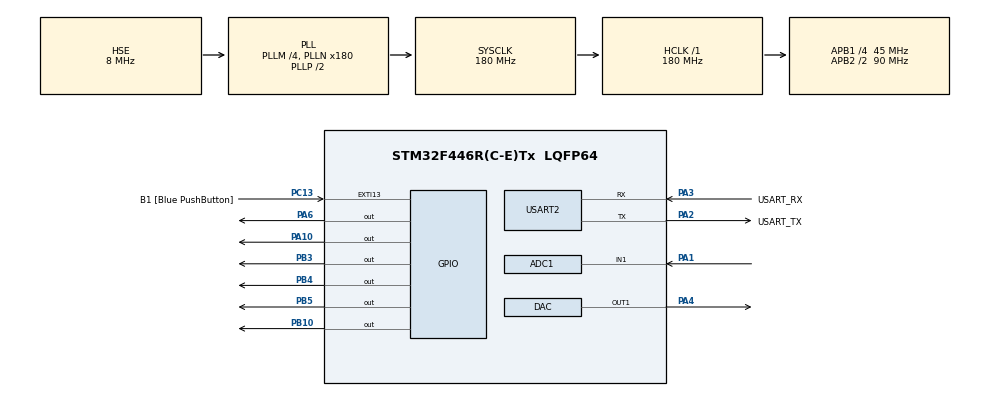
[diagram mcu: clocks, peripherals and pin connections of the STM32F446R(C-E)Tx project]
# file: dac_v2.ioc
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ADC1.Channel-4\#ChannelRegularConversion=ADC_CHANNEL_1
ADC1.ContinuousConvMode=ENABLE
ADC1.DMAContinuousRequests=ENABLE
ADC1.EOCSelection=ADC_EOC_SEQ_CONV
ADC1.ExternalTrigConv=ADC_EXTERNALTRIGCONV_T3_TRGO
ADC1.ExternalTrigConvEdge=ADC_EXTERNALTRIGCONVEDGE_RISING
ADC1.NbrOfConversionFlag=1
ADC1.Rank-4\#ChannelRegularConversion=1
ADC1.SamplingTime-4\#ChannelRegularConversion=ADC_SAMPLETIME_3CYCLES
ADC1.ScanConvMode=ENABLE
ADC1.master=1
DAC.DAC_OutputBuffer=DAC_OUTPUTBUFFER_ENABLE
DAC.DAC_Trigger=DAC_TRIGGER_T2_TRGO
Dma.ADC1.2.Direction=DMA_PERIPH_TO_MEMORY
Dma.ADC1.2.FIFOMode=DMA_FIFOMODE_DISABLE
Dma.ADC1.2.Instance=DMA2_Stream0
Dma.ADC1.2.MemDataAlignment=DMA_MDATAALIGN_WORD
Dma.ADC1.2.MemInc=DMA_MINC_ENABLE
Dma.ADC1.2.Mode=DMA_NORMAL
Dma.ADC1.2.PeriphDataAlignment=DMA_PDATAALIGN_WORD
Dma.ADC1.2.PeriphInc=DMA_PINC_DISABLE
Dma.ADC1.2.Priority=DMA_PRIORITY_LOW
Dma.DAC1.0.Direction=DMA_MEMORY_TO_PERIPH
Dma.DAC1.0.FIFOMode=DMA_FIFOMODE_DISABLE
Dma.DAC1.0.Instance=DMA1_Stream5
Dma.DAC1.0.MemDataAlignment=DMA_MDATAALIGN_WORD
Dma.DAC1.0.MemInc=DMA_MINC_ENABLE
Dma.DAC1.0.Mode=DMA_CIRCULAR
Dma.DAC1.0.PeriphDataAlignment=DMA_PDATAALIGN_WORD
Dma.DAC1.0.PeriphInc=DMA_PINC_DISABLE
Dma.DAC1.0.Priority=DMA_PRIORITY_LOW
Dma.Request0=DAC1
Dma.Request1=USART2_TX
Dma.Request2=ADC1
Dma.USART2_TX.1.Direction=DMA_MEMORY_TO_PERIPH
Dma.USART2_TX.1.FIFOMode=DMA_FIFOMODE_DISABLE
Dma.USART2_TX.1.Instance=DMA1_Stream6
Dma.USART2_TX.1.MemDataAlignment=DMA_MDATAALIGN_BYTE
Dma.USART2_TX.1.MemInc=DMA_MINC_ENABLE
Dma.USART2_TX.1.Mode=DMA_NORMAL
Dma.USART2_TX.1.PeriphDataAlignment=DMA_PDATAALIGN_BYTE
Dma.USART2_TX.1.PeriphInc=DMA_PINC_DISABLE
Dma.USART2_TX.1.Priority=DMA_PRIORITY_LOW
Mcu.Family=STM32F4
Mcu.Name=STM32F446R(C-E)Tx
Mcu.Package=LQFP64
NVIC.ADC_IRQn=true\:0\:0\:false\:false\:true\:true\:true\:true
NVIC.DMA1_Stream5_IRQn=true\:0\:0\:false\:false\:true\:false\:true\:true
NVIC.DMA1_Stream6_IRQn=true\:0\:0\:false\:false\:true\:false\:true\:true
NVIC.DMA2_Stream0_IRQn=true\:0\:0\:false\:false\:true\:false\:true\:true
NVIC.PriorityGroup=NVIC_PRIORITYGROUP_0
NVIC.TIM2_IRQn=true\:0\:0\:false\:false\:true\:true\:true\:true
NVIC.TIM3_IRQn=true\:0\:0\:false\:false\:true\:true\:true\:true
PA1.Signal=ADCx_IN1
PA10.Signal=GPIO_Output
PA13.GPIO_Label=TMS
PA13.Mode=Serial_Wire
PA13.Signal=SYS_JTMS-SWDIO
PA14.GPIO_Label=TCK
PA14.Mode=Serial_Wire
PA14.Signal=SYS_JTCK-SWCLK
PA2.GPIO_Label=USART_TX
PA2.Mode=Asynchronous
PA2.Signal=USART2_TX
PA3.GPIO_Label=USART_RX
PA3.Mode=Asynchronous
PA3.Signal=USART2_RX
PA4.Signal=COMP_DAC1_group
PA6.Signal=GPIO_Output
PB10.Signal=GPIO_Output
PB3.Signal=GPIO_Output
PB4.Signal=GPIO_Output
PB5.Signal=GPIO_Output
PC13.GPIO_Label=B1 [Blue PushButton]
PC13.GPIO_ModeDefaultEXTI=GPIO_MODE_IT_FALLING
PC13.Signal=GPXTI13
PC14-OSC32_IN.Mode=LSE-External-Oscillator
PC14-OSC32_IN.Signal=RCC_OSC32_IN
PC15-OSC32_OUT.Mode=LSE-External-Oscillator
PC15-OSC32_OUT.Signal=RCC_OSC32_OUT
PH0-OSC_IN.Mode=HSE-External-Oscillator
PH0-OSC_IN.Signal=RCC_OSC_IN
PH1-OSC_OUT.Mode=HSE-External-Oscillator
PH1-OSC_OUT.Signal=RCC_OSC_OUT
ProjectManager.HeapSize=0x200
ProjectManager.StackSize=0x400
ProjectManager.TargetToolchain=STM32CubeIDE
RCC.48MHZClocksFreq_Value=84000000
RCC.AHBFreq_Value=180000000
RCC.APB1CLKDivider=RCC_HCLK_DIV4
RCC.APB1Freq_Value=45000000
RCC.APB1TimFreq_Value=90000000
RCC.APB2CLKDivider=RCC_HCLK_DIV2
RCC.APB2Freq_Value=90000000
RCC.APB2TimFreq_Value=180000000
RCC.CortexFreq_Value=180000000
RCC.FLatency-AdvancedSettings=FLASH_LATENCY_5
RCC.HCLKFreq_Value=180000000
RCC.HSE_VALUE=8000000
RCC.HSI_VALUE=16000000
RCC.PLLM=4
RCC.PLLN=180
RCC.PLLSourceVirtual=RCC_PLLSOURCE_HSE
RCC.SYSCLKFreq_VALUE=180000000
RCC.SYSCLKSource=RCC_SYSCLKSOURCE_PLLCLK
RCC.USBFreq_Value=180000000
RCC.VCOOutputFreq_Value=360000000
SH.ADCx_IN1.0=ADC1_IN1,IN1
SH.COMP_DAC1_group.0=DAC_OUT1,DAC_OUT1
TIM2.AutoReloadPreload=TIM_AUTORELOAD_PRELOAD_ENABLE
TIM2.Period=2
TIM2.Prescaler=2
TIM2.TIM_MasterOutputTrigger=TIM_TRGO_UPDATE
TIM3.AutoReloadPreload=TIM_AUTORELOAD_PRELOAD_ENABLE
TIM3.Period=300-1
TIM3.Prescaler=0
TIM3.TIM_MasterOutputTrigger=TIM_TRGO_UPDATE
USART2.VirtualMode=VM_ASYNC
VP_TIM2_VS_ClockSourceINT.Mode=Internal
VP_TIM3_VS_ClockSourceINT.Mode=Internal
board=NUCLEO-F446RE

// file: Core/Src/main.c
/* USER CODE BEGIN Header */
/**
  ******************************************************************************
  * @file           : main.c
  * @brief          : Main program body
  ******************************************************************************
  * @attention
  *
  * Copyright (c) 2022 STMicroelectronics.
  * All rights reserved.
  *
  * This software is licensed under terms that can be found in the LICENSE file
  * in the root directory of this software component.
  * If no LICENSE file comes with this software, it is provided AS-IS.
  *
  ******************************************************************************
  */
/* USER CODE END Header */
#include "main.h"

/* USER CODE BEGIN Includes */
#include <string.h>
#include <stdio.h>
#include "arm_math.h"
#include "arm_const_structs.h"
/* USER CODE END Includes */

/* USER CODE BEGIN PD */

//#define MAX_SINE_VAL_ARR 300
#define CURRENT_SINE_ARR 			100
#define ADC_SAMPLE_SIZE 			4096
#define FFT_SAMPLE_SIZE 			2048
#define ADC_SCALING					0.0008056640508584678173065185546875
//#define PI 							3.141592

/* USER CODE END PD */

 ADC_HandleTypeDef hadc1;
DMA_HandleTypeDef hdma_adc1;

DAC_HandleTypeDef hdac;
DMA_HandleTypeDef hdma_dac1;

TIM_HandleTypeDef htim2;
TIM_HandleTypeDef htim3;

UART_HandleTypeDef huart2;
DMA_HandleTypeDef hdma_usart2_tx;

/* USER CODE BEGIN PV */

uint32_t adcVoltageData[ADC_SAMPLE_SIZE];
uint32_t adcCurrentData[ADC_SAMPLE_SIZE];
float32_t adcVoltageFloat[ADC_SAMPLE_SIZE];
float32_t adcCurrentFloat[ADC_SAMPLE_SIZE];
float32_t adcVoltageFFT[ADC_SAMPLE_SIZE];
float32_t adcCurrentFFT[ADC_SAMPLE_SIZE];
float32_t testVoltageOutput[FFT_SAMPLE_SIZE];
float32_t testCurrentOutput[FFT_SAMPLE_SIZE];
uint16_t UART_size = 0;
uint8_t adcTransfer = 0;
char UART_BUF[1024];
char str[150] = { ' ' }; //Temp Char Buffer

arm_rfft_fast_instance_f32 fSV;
arm_rfft_fast_instance_f32 fSC;
uint32_t ifftFlag = 0;

uint32_t maxcurrentval = 0;
//uint32_t maxcurrentindex = 0;
uint32_t mincurrentval = 0;
//uint32_t mincurrentindex = 0;
float32_t maxFFTVoltageValue = 0;
uint32_t maxFFTVoltageindex = 0;
float32_t maxFFTCurrentValue = 0;
uint32_t maxFFTCurrentindex = 0;

uint8_t range_resistor = 0;

uint32_t sine_values[CURRENT_SINE_ARR];

float32_t range_resistor_table[8] = { 100, 320, 660, 920, 5200, 10100, 47100, 350100};

/* USER CODE END PV */

void SystemClock_Config(void);
static void MX_GPIO_Init(void);
static void MX_USART2_UART_Init(void);
static void MX_DMA_Init(void);
static void MX_TIM2_Init(void);
static void MX_DAC_Init(void);
static void MX_ADC1_Init(void);
static void MX_TIM3_Init(void);
/* USER CODE BEGIN PFP */

static void My_TIM2_Init(int period){

	  TIM_ClockConfigTypeDef sClockSourceConfig = {0};
	  TIM_MasterConfigTypeDef sMasterConfig = {0};

	  htim2.Instance = TIM2;
	  htim2.Init.Prescaler = 0;
	  htim2.Init.CounterMode = TIM_COUNTERMODE_UP;
	  htim2.Init.Period = period - 1;
	  htim2.Init.ClockDivision = TIM_CLOCKDIVISION_DIV1;
	  htim2.Init.AutoReloadPreload = TIM_AUTORELOAD_PRELOAD_ENABLE;
	  if (HAL_TIM_Base_Init(&htim2) != HAL_OK)
	  {
	    Error_Handler();
	  }
	  sClockSourceConfig.ClockSource = TIM_CLOCKSOURCE_INTERNAL;
	  if (HAL_TIM_ConfigClockSource(&htim2, &sClockSourceConfig) != HAL_OK)
	  {
	    Error_Handler();
	  }
	  sMasterConfig.MasterOutputTrigger = TIM_TRGO_UPDATE;
	  sMasterConfig.MasterSlaveMode = TIM_MASTERSLAVEMODE_DISABLE;
	  if (HAL_TIMEx_MasterConfigSynchronization(&htim2, &sMasterConfig) != HAL_OK)
	  {
	    Error_Handler();
	  }
}

static void My_TIM3_Init(int period)
{

  /* USER CODE BEGIN TIM3_Init 0 */

  /* USER CODE END TIM3_Init 0 */

  TIM_ClockConfigTypeDef sClockSourceConfig = {0};
  TIM_MasterConfigTypeDef sMasterConfig = {0};

  /* USER CODE BEGIN TIM3_Init 1 */

  /* USER CODE END TIM3_Init 1 */
  htim3.Instance = TIM3;
  htim3.Init.Prescaler = 0;
  htim3.Init.CounterMode = TIM_COUNTERMODE_UP;
  htim3.Init.Period = period - 1;
  htim3.Init.ClockDivision = TIM_CLOCKDIVISION_DIV1;
  htim3.Init.AutoReloadPreload = TIM_AUTORELOAD_PRELOAD_ENABLE;
  if (HAL_TIM_Base_Init(&htim3) != HAL_OK)
  {
    Error_Handler();
  }
  sClockSourceConfig.ClockSource = TIM_CLOCKSOURCE_INTERNAL;
  if (HAL_TIM_ConfigClockSource(&htim3, &sClockSourceConfig) != HAL_OK)
  {
    Error_Handler();
  }
  sMasterConfig.MasterOutputTrigger = TIM_TRGO_UPDATE;
  sMasterConfig.MasterSlaveMode = TIM_MASTERSLAVEMODE_DISABLE;
  if (HAL_TIMEx_MasterConfigSynchronization(&htim3, &sMasterConfig) != HAL_OK)
  {
    Error_Handler();
  }
  /* USER CODE BEGIN TIM3_Init 2 */

  /* USER CODE END TIM3_Init 2 */

}
//Initiate the ADC via DMA and wait for sample buffer to fill up before leaving control
//
//void sync_sample_blocking(uint32_t *buffer, int buffer_size){
//	//Set the sampling rate for DAC and ADC
//	My_TIM2_Init(SINE_1K);
//	//Start DAC via DMA
//	HAL_DAC_Start_DMA(&hdac, DAC_CHANNEL_1, (uint32_t*)sine_wave_array_1k ,
//			SINE_1K_LUT_SIZE, DAC_ALIGN_12B_R);
//
//	//Start ADC
//	//Disable DMA before Start
//	HAL_ADC_Stop_DMA(&hadc1);
//	buffer_is_full = 0;
//	HAL_ADC_Start_DMA(&hadc1, buffer, buffer_size);
//
//	//Setup common sync timer
//	HAL_TIM_Base_Stop(&htim2);
//	HAL_TIM_Base_Start(&htim2);
//	while (buffer_is_full == 0);
//	HAL_TIM_Base_Start(&htim2);
//	HAL_TIM_Base_Stop(&htim2);
//
//}

//Callback for DMA calls after ADC buffer is full

//void HAL_ADC_ConvCpltCallback(ADC_HandleTypeDef *hadc) {
//	//Disable the sampling timer for both the ADC and DAC
//	HAL_TIM_Base_Stop(&htim2);
////Set the buffer full flag
//	buffer_is_full = 1;
//}

/* USER CODE END PFP */

/* USER CODE BEGIN 0 */

//uint16_t frequency_hold;
//uint16_t resistor_hold;
//uint16_t path_hold;

//void DMATransferComplete(DMA_HandleTypeDef *hdma)
//{
//	//Disable UART interrupt to use own interrupt
//	huart2.Instance->CR3 &= ~USART_CR3_DMAT;
//
//	//Perform the interrupt
//	HAL_GPIO_TogglePin(GPIOA, GPIO_PIN_6);
//
//
//}

void sine_generator(){
	for (int i=0; i<CURRENT_SINE_ARR; i++){
		sine_values[i] = ((sin(i*2*PI/CURRENT_SINE_ARR) + 1)*(4095/2));
	}
}

void path_select(uint16_t path_hold) //0 for Voltage; 1 for Current
{
	if(path_hold==0){
		//Enter PIN HERE
		HAL_GPIO_WritePin(GPIOB, GPIO_PIN_10, GPIO_PIN_RESET);
	}
	else{
		//Enter PIN HERE
		HAL_GPIO_WritePin(GPIOB, GPIO_PIN_10, GPIO_PIN_SET);
	}
}

void frequency_select(uint16_t frequency_hold)
{
	  switch(frequency_hold){
	  case 0: //f = 100Hz
		  HAL_DAC_Stop_DMA(&hdac, DAC_CHANNEL_1);
		  HAL_TIM_Base_Stop(&htim2);
		  My_TIM2_Init(9000);
		  My_TIM3_Init(45000);
//		  __HAL_TIM_SET_PRESCALER(&htim2, 10-1);
//		  __HAL_TIM_SET_AUTORELOAD(&htim2, 900-1);
		  //HAL_TIM_Base_Start(&htim2);
		  HAL_DAC_Start_DMA(&hdac, DAC_CHANNEL_1, sine_values, CURRENT_SINE_ARR, DAC_ALIGN_12B_R);
		  break;
	  case 1: // f = 141.28Hz
		  HAL_DAC_Stop_DMA(&hdac, DAC_CHANNEL_1);
		  HAL_TIM_Base_Stop(&htim2);
		  My_TIM2_Init(6370);
		  My_TIM3_Init(31850);
//		  __HAL_TIM_SET_PRESCALER(&htim2, 10-1);
//		  __HAL_TIM_SET_AUTORELOAD(&htim2, 637-1);
		  HAL_TIM_Base_Start(&htim2);
		  HAL_DAC_Start_DMA(&hdac, DAC_CHANNEL_1, sine_values, CURRENT_SINE_ARR, DAC_ALIGN_12B_R);
		  break;
	  case 2: // f = 500Hz
		  HAL_DAC_Stop_DMA(&hdac, DAC_CHANNEL_1);
		  HAL_TIM_Base_Stop(&htim2);
		  My_TIM2_Init(1800);
		  My_TIM3_Init(9000);
//		  __HAL_TIM_SET_PRESCALER(&htim2, 9-1);
//		  __HAL_TIM_SET_AUTORELOAD(&htim2, 200-1);
		  HAL_TIM_Base_Start(&htim2);
		  HAL_DAC_Start_DMA(&hdac, DAC_CHANNEL_1, sine_values, CURRENT_SINE_ARR, DAC_ALIGN_12B_R);
		  break;
	  case 3: // f = 1kHz
		  HAL_DAC_Stop_DMA(&hdac, DAC_CHANNEL_1);
		  HAL_TIM_Base_Stop(&htim2);
		  My_TIM2_Init(900);
		  //My_TIM3_Init(4500);
//		  __HAL_TIM_SET_PRESCALER(&htim2, 9-1);
//		  __HAL_TIM_SET_AUTORELOAD(&htim2, 100-1);
		  HAL_TIM_Base_Start(&htim2);
		  HAL_DAC_Start_DMA(&hdac, DAC_CHANNEL_1, sine_values, CURRENT_SINE_ARR, DAC_ALIGN_12B_R);
		  break;
	  case 4: // f = 10kHz
		  HAL_DAC_Stop_DMA(&hdac, DAC_CHANNEL_1);
		  HAL_TIM_Base_Stop(&htim2);
		  My_TIM2_Init(90);
		  My_TIM3_Init(450);
		  HAL_TIM_Base_Start(&htim2);
		  HAL_DAC_Start_DMA(&hdac, DAC_CHANNEL_1, sine_values, CURRENT_SINE_ARR, DAC_ALIGN_12B_R);
		  break;
	  case 5: // f = 25kHz
		  HAL_DAC_Stop_DMA(&hdac, DAC_CHANNEL_1);
		  HAL_TIM_Base_Stop(&htim2);
		  My_TIM2_Init(36);
		  My_TIM3_Init(180);
//		  __HAL_TIM_SET_PRESCALER(&htim2, 6-1);
//		  __HAL_TIM_SET_AUTORELOAD(&htim2, 6-1);
		  HAL_TIM_Base_Start(&htim2);
		  HAL_DAC_Start_DMA(&hdac, DAC_CHANNEL_1, sine_values, CURRENT_SINE_ARR, DAC_ALIGN_12B_R);
		  break;
	  case 6: // f = 75Hz
		  HAL_DAC_Stop_DMA(&hdac, DAC_CHANNEL_1);
		  HAL_TIM_Base_Stop(&htim2);
		  My_TIM2_Init(12);
		  My_TIM3_Init(60);
//		  __HAL_TIM_SET_PRESCALER(&htim2, 4-1);
//		  __HAL_TIM_SET_AUTORELOAD(&htim2, 3-1);
		  HAL_TIM_Base_Start(&htim2);
		  HAL_DAC_Start_DMA(&hdac, DAC_CHANNEL_1, sine_values, CURRENT_SINE_ARR, DAC_ALIGN_12B_R);
		  break;
	  case 7: // f = 100kHz
		  HAL_DAC_Stop_DMA(&hdac, DAC_CHANNEL_1);
		  HAL_TIM_Base_Stop(&htim2);
		  My_TIM2_Init(9);
		  My_TIM3_Init(45);
//		  __HAL_TIM_SET_PRESCALER(&htim2, 3-1);
//		  __HAL_TIM_SET_AUTORELOAD(&htim2, 3-1);
		  HAL_TIM_Base_Start(&htim2);
		  HAL_DAC_Start_DMA(&hdac, DAC_CHANNEL_1, sine_values, CURRENT_SINE_ARR, DAC_ALIGN_12B_R);
		  break;
	  }
}

void resistor_select(uint16_t resistor_hold)
{
	switch (resistor_hold){
	case 0: //000
		HAL_GPIO_WritePin(GPIOB, GPIO_PIN_4, GPIO_PIN_RESET);  //Enable - Low Enable
		HAL_GPIO_WritePin(GPIOA, GPIO_PIN_10, GPIO_PIN_RESET); //S0
		HAL_GPIO_WritePin(GPIOB, GPIO_PIN_3, GPIO_PIN_RESET);	// S1
		HAL_GPIO_WritePin(GPIOB, GPIO_PIN_5, GPIO_PIN_RESET);	//S2
		break;
	case 1: //001
		HAL_GPIO_WritePin(GPIOB, GPIO_PIN_4, GPIO_PIN_RESET);  //Enable - Low Enable
		HAL_GPIO_WritePin(GPIOA, GPIO_PIN_10, GPIO_PIN_SET); //S0
		HAL_GPIO_WritePin(GPIOB, GPIO_PIN_3, GPIO_PIN_RESET);	// S1
		HAL_GPIO_WritePin(GPIOB, GPIO_PIN_5, GPIO_PIN_RESET);	//S2
		break;
	case 2: //010
		HAL_GPIO_WritePin(GPIOB, GPIO_PIN_4, GPIO_PIN_RESET);  //Enable - Low Enable
		HAL_GPIO_WritePin(GPIOA, GPIO_PIN_10, GPIO_PIN_RESET); //S0
		HAL_GPIO_WritePin(GPIOB, GPIO_PIN_3, GPIO_PIN_SET);	// S1
		HAL_GPIO_WritePin(GPIOB, GPIO_PIN_5, GPIO_PIN_RESET);	//S2
		break;
	case 3: //011
		HAL_GPIO_WritePin(GPIOB, GPIO_PIN_4, GPIO_PIN_RESET);  //Enable - Low Enable
		HAL_GPIO_WritePin(GPIOA, GPIO_PIN_10, GPIO_PIN_SET); //S0
		HAL_GPIO_WritePin(GPIOB, GPIO_PIN_3, GPIO_PIN_SET);	// S1
		HAL_GPIO_WritePin(GPIOB, GPIO_PIN_5, GPIO_PIN_RESET);	//S2
		break;
	case 4: //100
		HAL_GPIO_WritePin(GPIOB, GPIO_PIN_4, GPIO_PIN_RESET);  //Enable - Low Enable
		HAL_GPIO_WritePin(GPIOA, GPIO_PIN_10, GPIO_PIN_RESET); //S0
		HAL_GPIO_WritePin(GPIOB, GPIO_PIN_3, GPIO_PIN_RESET);	// S1
		HAL_GPIO_WritePin(GPIOB, GPIO_PIN_5, GPIO_PIN_SET);	//S2
		break;
	case 5:	//101
		HAL_GPIO_WritePin(GPIOB, GPIO_PIN_4, GPIO_PIN_RESET);  //Enable - Low Enable
		HAL_GPIO_WritePin(GPIOA, GPIO_PIN_10, GPIO_PIN_SET); //S0
		HAL_GPIO_WritePin(GPIOB, GPIO_PIN_3, GPIO_PIN_RESET);	// S1
		HAL_GPIO_WritePin(GPIOB, GPIO_PIN_5, GPIO_PIN_SET);	//S2
		break;
	case 6:	//110
		HAL_GPIO_WritePin(GPIOB, GPIO_PIN_4, GPIO_PIN_RESET);  //Enable - Low Enable
		HAL_GPIO_WritePin(GPIOA, GPIO_PIN_10, GPIO_PIN_RESET); //S0
		HAL_GPIO_WritePin(GPIOB, GPIO_PIN_3, GPIO_PIN_SET);	// S1
		HAL_GPIO_WritePin(GPIOB, GPIO_PIN_5, GPIO_PIN_SET);	//S2
		break;
	case 7: //111
		HAL_GPIO_WritePin(GPIOB, GPIO_PIN_4, GPIO_PIN_RESET);  //Enable - Low Enable
		HAL_GPIO_WritePin(GPIOA, GPIO_PIN_10, GPIO_PIN_SET); //S0
		HAL_GPIO_WritePin(GPIOB, GPIO_PIN_3, GPIO_PIN_SET);	// S1
		HAL_GPIO_WritePin(GPIOB, GPIO_PIN_5, GPIO_PIN_SET);	//S2
		break;
	case 8: //No MUX, only f/b res 1Mohm
		HAL_GPIO_WritePin(GPIOB, GPIO_PIN_4, GPIO_PIN_SET);  //Enable - Low Enable
	}
}

void sync_sample_blocking(uint32_t *buffer) {

//Set the correct samplying rate for DAC and ADC
	frequency_select(0);

//Setup ADC
//Must disable the DMA first otherwise, it will not let you change the destination pointer as you intend!
	HAL_ADC_Stop_DMA(&hadc1);
	adcTransfer = 0;
	HAL_ADC_Start_DMA(&hadc1, buffer, ADC_SAMPLE_SIZE);

//Setup common sync timer
	HAL_TIM_Base_Stop(&htim2);
	HAL_TIM_Base_Start(&htim2);
	while (adcTransfer == 0);
	HAL_TIM_Base_Start(&htim2);
	HAL_TIM_Base_Stop(&htim2);
}

/* USER CODE END 0 */

int main(void)
{

  /* MCU Configuration--------------------------------------------------------*/

  /* Reset of all peripherals, Initializes the Flash interface and the Systick. */
  HAL_Init();

  /* Configure the system clock */
  SystemClock_Config();

  /* Initialize all configured peripherals */
  MX_GPIO_Init();
  MX_USART2_UART_Init();
  MX_DMA_Init();
  MX_TIM2_Init();
  MX_DAC_Init();
  MX_ADC1_Init();
  MX_TIM3_Init();
  /* USER CODE BEGIN 2 */

  //INTERRUPTS -> CALLBACK ID FROM HAL_DMA.H FILE ||  Address of the callback function for pointer
//  HAL_DMA_RegisterCallback(&hdma_usart2_tx, HAL_DMA_XFER_CPLT_CB_ID , &DMATransferComplete);

  sine_generator(); //Generate the samples
  //Note: sine amplitude might vary with frequency
//
//  path_select(0);
//  resistor_select(0);
//
//  frequency_select(4);
//  HAL_Delay(500);
//  HAL_ADC_Start_DMA(&hadc1, adcVoltageData, ADC_SAMPLE_SIZE);
//  //HAL_ADC_PollForConversion(&hadc1, HAL_MAX_DELAY);
//
//  /* Transfer data to computer for validation */
////	  for (int i = 0; i < ADC_SAMPLE_SIZE; i++)
////	  {
////		  adcVoltageFloat[i] = adcVoltageData[i] * ADC_SCALING;
////	  }
  //sync_sample_blocking(&adcVoltageData[0]);
  frequency_select(1); // Change the frequency here

  resistor_select(0);
  path_select(0);
  adcTransfer = 0;
  HAL_TIM_Base_Start(&htim3);
  HAL_ADC_Start_DMA(&hadc1, (uint32_t*)adcVoltageData, ADC_SAMPLE_SIZE);
  HAL_Delay(1000);
  path_select(1);
  for (int i=0; i<8; i++){
	  adcTransfer = 0;
	  range_resistor = i;
	  resistor_select(range_resistor); // Change resistor RANGE HERE -----------^^^^^^^
	  HAL_Delay(1000);
	  HAL_TIM_Base_Start(&htim3);
	  HAL_ADC_Start_DMA(&hadc1, (uint32_t*)adcCurrentData, ADC_SAMPLE_SIZE);

	  while(adcTransfer != 1);
	  maxcurrentval = adcCurrentData[0];
	  for (uint32_t i = 1; i < ADC_SAMPLE_SIZE; i++)
		  if (adcCurrentData[i] > maxcurrentval){
			  maxcurrentval = adcCurrentData[i];
		  }
	  mincurrentval = adcCurrentData[0];
	  for (uint32_t i = 1; i < ADC_SAMPLE_SIZE; i++)
		  if (adcCurrentData[i] < mincurrentval){
			  mincurrentval = adcCurrentData[i];
		  }

	  if (maxcurrentval >= 4095 || mincurrentval <= 0){
		  adcTransfer = 0;
		  range_resistor = i-1;
		  resistor_select(range_resistor);
		  HAL_Delay(500);
		  HAL_TIM_Base_Start(&htim2);
		  HAL_TIM_Base_Start(&htim3);
		  HAL_ADC_Start_DMA(&hadc1, (uint32_t*)adcCurrentData, ADC_SAMPLE_SIZE);
		  while(adcTransfer!=1);
		  break;
		  }

	  //uint8_t temphold = 0;

//	  if ((uint32_t)maxcurrentval >= 4095 || (uint32_t)mincurrentval <= 1){
//		  adcTransfer = 0;
//		  resistor_select(i-1);
//		  HAL_Delay(500);
//		  HAL_TIM_Base_Start(&htim3);
//		  HAL_ADC_Start_DMA(&hadc1, (uint32_t*)adcCurrentData, ADC_SAMPLE_SIZE);
//		  while (adcTransfer !=1);
//		  break;
//	  }

  }
  for (int i = 0; i < ADC_SAMPLE_SIZE; i++)
    	  {
    	  	adcVoltageFloat[i] = adcVoltageData[i] * ADC_SCALING;
    	  	adcCurrentFloat[i] = adcCurrentData[i] * ADC_SCALING;
    	  }
//
  for (int i = 0; i < 4096; i++) {
        float32_t multiplier = 0.5 * (1 - cos(2*PI*i/4095));
        adcVoltageFloat[i] = multiplier * adcVoltageFloat[i];
    }
	for (int i = 0; i < 4096; i++) {
		  float32_t multiplier = 0.5 * (1 - cos(2*PI*i/4095));
		  adcCurrentFloat[i] = multiplier * adcCurrentFloat[i];
	  }

  arm_rfft_fast_init_f32(&fSV, ADC_SAMPLE_SIZE);
  arm_rfft_fast_f32(&fSV, adcVoltageFloat, adcVoltageFFT, ifftFlag);
  arm_cmplx_mag_f32(adcVoltageFFT, testVoltageOutput, FFT_SAMPLE_SIZE);
  testVoltageOutput[0] = 0;
  arm_max_f32(testVoltageOutput, FFT_SAMPLE_SIZE, &maxFFTVoltageValue, &maxFFTVoltageindex);

  arm_rfft_fast_init_f32(&fSC, ADC_SAMPLE_SIZE);
  arm_rfft_fast_f32(&fSC, adcCurrentFloat, adcCurrentFFT, ifftFlag);
  arm_cmplx_mag_f32(adcCurrentFFT, testCurrentOutput, FFT_SAMPLE_SIZE);
  testCurrentOutput[0] = 0;
  arm_max_f32(testCurrentOutput, FFT_SAMPLE_SIZE, &maxFFTCurrentValue, &maxFFTCurrentindex);

  //Magnitude Calculation

  float32_t RealVoltage = adcVoltageFFT[maxFFTVoltageindex*2];
  float32_t ImagVoltage = adcVoltageFFT[maxFFTVoltageindex*2+1];
  float32_t RealCurrent = adcCurrentFFT[maxFFTCurrentindex*2];
  float32_t ImagCurrent = adcCurrentFFT[maxFFTCurrentindex*2+1];

  float32_t RealImpedance = ((RealVoltage*RealCurrent)+(ImagVoltage*ImagCurrent))/(RealCurrent*RealCurrent + ImagCurrent*ImagCurrent);
  RealImpedance = range_resistor_table[range_resistor]*RealImpedance;
  float32_t ImagImpedance = ((RealCurrent*ImagVoltage)-(RealVoltage*ImagCurrent))/(RealCurrent*RealCurrent + ImagCurrent*ImagCurrent);
  ImagImpedance = range_resistor_table[range_resistor]*ImagImpedance;
  //float32_t RealImpedance = (range_resistor_table[range_resistor]*((RealVoltage*RealCurrent)+(ImagVoltage*ImagCurrent)))/(RealCurrent*RealCurrent + ImagCurrent*ImagCurrent);

  /* USER CODE END 2 */

  /* Infinite loop */
  /* USER CODE BEGIN WHILE */
  while (1)
  {
//	  if(adcTransfer == 1){
//		 for (int i = 0; i < ADC_SAMPLE_SIZE; i++)
//		 {
//			 UART_size = sprintf(UART_BUF,"%ld,",adcVoltageData[i]);
//			 HAL_UART_Transmit(&huart2, (uint8_t *)UART_BUF, UART_size, HAL_MAX_DELAY);
//		 }
//		 UART_size = sprintf(UART_BUF,"\n,");
//		 HAL_UART_Transmit(&huart2, (uint8_t *)UART_BUF, UART_size, HAL_MAX_DELAY);
//
//		 adcTransfer = 0;
	  }

//	  huart2.Instance->CR3 |= USART_CR3_DMAT; //Disable IT so can use own interrupt
//	  //Starting the DMA in interrupt mode and saving the message
//	  HAL_DMA_Start_IT(&hdma_usart2_tx, (uint32_t)msg, (uint32_t)&huart2.Instance->DR, strlen(msg));

//	  HAL_Delay(1000);

//	  //TESTING ADC CODE
//	  //GET ADC VALUE
//
//	  HAL_GPIO_WritePin(GPIOA, GPIO_PIN_6, GPIO_PIN_SET);
//
//	  HAL_ADC_Start(&hadc1);
//	  HAL_ADC_PollForConversion(&hadc1, HAL_MAX_DELAY);
//	  raw = HAL_ADC_GetValue(&hadc1);
//
//	  HAL_GPIO_WritePin(GPIOA, GPIO_PIN_6, GPIO_PIN_RESET);
//
//	  sprintf(msg, "%hu\r\n", raw);
//	  HAL_UART_Transmit(&huart2, (uint8_t*)msg, strlen(msg), HAL_MAX_DELAY);
//
//	  HAL_Delay(1);
//

//
//	  HAL_GPIO_WritePin(GPIOB, GPIO_PIN_3 , GPIO_PIN_SET);
//	  HAL_Delay(1000);
//	  HAL_GPIO_WritePin(GPIOB, GPIO_PIN_3 , GPIO_PIN_RESET);
//	  HAL_Delay(1000);
//	  frequency_select(3);
//	  HAL_Delay(1000);
//	  frequency_select(4);
//	  	  HAL_Delay(1000);
//	  	frequency_select(5);
//	  		  HAL_Delay(1000);

    /* USER CODE END WHILE */

    /* USER CODE BEGIN 3 */

//	sync_sample_blocking(&adc_buffer_A[0],ADC_BUFFER_SIZE);
//
//		//Print
//	//HAL_UART_Transmit(&huart2,"Start\n",6,1);
//	for(int i=0;i<ADC_BUFFER_SIZE;i++){
//		sprintf( str, "%d",(uint16_t)(adc_buffer_A[i]& 0x00000FFF));
//		HAL_UART_Transmit(&huart2,(uint8_t*)str,50,1);
//		HAL_UART_Transmit(&huart2,(uint8_t*)"\n",1,1);
//	}
//	HAL_UART_Transmit(&huart2,(uint8_t*)"End\n",4,1);

  /* USER CODE END 3 */
}

void SystemClock_Config(void)
{
  RCC_OscInitTypeDef RCC_OscInitStruct = {0};
  RCC_ClkInitTypeDef RCC_ClkInitStruct = {0};

  /** Configure the main internal regulator output voltage
  */
  __HAL_RCC_PWR_CLK_ENABLE();
  __HAL_PWR_VOLTAGESCALING_CONFIG(PWR_REGULATOR_VOLTAGE_SCALE1);

  /** Initializes the RCC Oscillators according to the specified parameters
  * in the RCC_OscInitTypeDef structure.
  */
  RCC_OscInitStruct.OscillatorType = RCC_OSCILLATORTYPE_HSE;
  RCC_OscInitStruct.HSEState = RCC_HSE_ON;
  RCC_OscInitStruct.PLL.PLLState = RCC_PLL_ON;
  RCC_OscInitStruct.PLL.PLLSource = RCC_PLLSOURCE_HSE;
  RCC_OscInitStruct.PLL.PLLM = 4;
  RCC_OscInitStruct.PLL.PLLN = 180;
  RCC_OscInitStruct.PLL.PLLP = RCC_PLLP_DIV2;
  RCC_OscInitStruct.PLL.PLLQ = 2;
  RCC_OscInitStruct.PLL.PLLR = 2;
  if (HAL_RCC_OscConfig(&RCC_OscInitStruct) != HAL_OK)
  {
    Error_Handler();
  }

  /** Activate the Over-Drive mode
  */
  if (HAL_PWREx_EnableOverDrive() != HAL_OK)
  {
    Error_Handler();
  }

  /** Initializes the CPU, AHB and APB buses clocks
  */
  RCC_ClkInitStruct.ClockType = RCC_CLOCKTYPE_HCLK|RCC_CLOCKTYPE_SYSCLK
                              |RCC_CLOCKTYPE_PCLK1|RCC_CLOCKTYPE_PCLK2;
  RCC_ClkInitStruct.SYSCLKSource = RCC_SYSCLKSOURCE_PLLCLK;
  RCC_ClkInitStruct.AHBCLKDivider = RCC_SYSCLK_DIV1;
  RCC_ClkInitStruct.APB1CLKDivider = RCC_HCLK_DIV4;
  RCC_ClkInitStruct.APB2CLKDivider = RCC_HCLK_DIV2;

  if (HAL_RCC_ClockConfig(&RCC_ClkInitStruct, FLASH_LATENCY_5) != HAL_OK)
  {
    Error_Handler();
  }
}

static void MX_ADC1_Init(void)
{

  ADC_ChannelConfTypeDef sConfig = {0};

  /** Configure the global features of the ADC (Clock, Resolution, Data Alignment and number of conversion)
  */
  hadc1.Instance = ADC1;
  hadc1.Init.ClockPrescaler = ADC_CLOCK_SYNC_PCLK_DIV4;
  hadc1.Init.Resolution = ADC_RESOLUTION_12B;
  hadc1.Init.ScanConvMode = ENABLE;
  hadc1.Init.ContinuousConvMode = ENABLE;
  hadc1.Init.DiscontinuousConvMode = DISABLE;
  hadc1.Init.ExternalTrigConvEdge = ADC_EXTERNALTRIGCONVEDGE_RISING;
  hadc1.Init.ExternalTrigConv = ADC_EXTERNALTRIGCONV_T3_TRGO;
  hadc1.Init.DataAlign = ADC_DATAALIGN_RIGHT;
  hadc1.Init.NbrOfConversion = 1;
  hadc1.Init.DMAContinuousRequests = ENABLE;
  hadc1.Init.EOCSelection = ADC_EOC_SEQ_CONV;
  if (HAL_ADC_Init(&hadc1) != HAL_OK)
  {
    Error_Handler();
  }

  /** Configure for the selected ADC regular channel its corresponding rank in the sequencer and its sample time.
  */
  sConfig.Channel = ADC_CHANNEL_1;
  sConfig.Rank = 1;
  sConfig.SamplingTime = ADC_SAMPLETIME_3CYCLES;
  if (HAL_ADC_ConfigChannel(&hadc1, &sConfig) != HAL_OK)
  {
    Error_Handler();
  }

}

static void MX_DAC_Init(void)
{

  DAC_ChannelConfTypeDef sConfig = {0};

  /** DAC Initialization
  */
  hdac.Instance = DAC;
  if (HAL_DAC_Init(&hdac) != HAL_OK)
  {
    Error_Handler();
  }

  /** DAC channel OUT1 config
  */
  sConfig.DAC_Trigger = DAC_TRIGGER_T2_TRGO;
  sConfig.DAC_OutputBuffer = DAC_OUTPUTBUFFER_ENABLE;
  if (HAL_DAC_ConfigChannel(&hdac, &sConfig, DAC_CHANNEL_1) != HAL_OK)
  {
    Error_Handler();
  }

}

static void MX_TIM2_Init(void)
{

  TIM_ClockConfigTypeDef sClockSourceConfig = {0};
  TIM_MasterConfigTypeDef sMasterConfig = {0};

  htim2.Instance = TIM2;
  htim2.Init.Prescaler = 2;
  htim2.Init.CounterMode = TIM_COUNTERMODE_UP;
  htim2.Init.Period = 2;
  htim2.Init.ClockDivision = TIM_CLOCKDIVISION_DIV1;
  htim2.Init.AutoReloadPreload = TIM_AUTORELOAD_PRELOAD_ENABLE;
  if (HAL_TIM_Base_Init(&htim2) != HAL_OK)
  {
    Error_Handler();
  }
  sClockSourceConfig.ClockSource = TIM_CLOCKSOURCE_INTERNAL;
  if (HAL_TIM_ConfigClockSource(&htim2, &sClockSourceConfig) != HAL_OK)
  {
    Error_Handler();
  }
  sMasterConfig.MasterOutputTrigger = TIM_TRGO_UPDATE;
  sMasterConfig.MasterSlaveMode = TIM_MASTERSLAVEMODE_DISABLE;
  if (HAL_TIMEx_MasterConfigSynchronization(&htim2, &sMasterConfig) != HAL_OK)
  {
    Error_Handler();
  }

}

static void MX_TIM3_Init(void)
{

  TIM_ClockConfigTypeDef sClockSourceConfig = {0};
  TIM_MasterConfigTypeDef sMasterConfig = {0};

  htim3.Instance = TIM3;
  htim3.Init.Prescaler = 0;
  htim3.Init.CounterMode = TIM_COUNTERMODE_UP;
  htim3.Init.Period = 4500-1;
  htim3.Init.ClockDivision = TIM_CLOCKDIVISION_DIV1;
  htim3.Init.AutoReloadPreload = TIM_AUTORELOAD_PRELOAD_ENABLE;
  if (HAL_TIM_Base_Init(&htim3) != HAL_OK)
  {
    Error_Handler();
  }
  sClockSourceConfig.ClockSource = TIM_CLOCKSOURCE_INTERNAL;
  if (HAL_TIM_ConfigClockSource(&htim3, &sClockSourceConfig) != HAL_OK)
  {
    Error_Handler();
  }
  sMasterConfig.MasterOutputTrigger = TIM_TRGO_UPDATE;
  sMasterConfig.MasterSlaveMode = TIM_MASTERSLAVEMODE_DISABLE;
  if (HAL_TIMEx_MasterConfigSynchronization(&htim3, &sMasterConfig) != HAL_OK)
  {
    Error_Handler();
  }

}

static void MX_USART2_UART_Init(void)
{

  huart2.Instance = USART2;
  huart2.Init.BaudRate = 115200;
  huart2.Init.WordLength = UART_WORDLENGTH_8B;
  huart2.Init.StopBits = UART_STOPBITS_1;
  huart2.Init.Parity = UART_PARITY_NONE;
  huart2.Init.Mode = UART_MODE_TX_RX;
  huart2.Init.HwFlowCtl = UART_HWCONTROL_NONE;
  huart2.Init.OverSampling = UART_OVERSAMPLING_16;
  if (HAL_UART_Init(&huart2) != HAL_OK)
  {
    Error_Handler();
  }

}

static void MX_DMA_Init(void)
{

  /* DMA controller clock enable */
  __HAL_RCC_DMA1_CLK_ENABLE();
  __HAL_RCC_DMA2_CLK_ENABLE();

  /* DMA interrupt init */
  /* DMA1_Stream5_IRQn interrupt configuration */
  HAL_NVIC_SetPriority(DMA1_Stream5_IRQn, 0, 0);
  HAL_NVIC_EnableIRQ(DMA1_Stream5_IRQn);
  /* DMA1_Stream6_IRQn interrupt configuration */
  HAL_NVIC_SetPriority(DMA1_Stream6_IRQn, 0, 0);
  HAL_NVIC_EnableIRQ(DMA1_Stream6_IRQn);
  /* DMA2_Stream0_IRQn interrupt configuration */
  HAL_NVIC_SetPriority(DMA2_Stream0_IRQn, 0, 0);
  HAL_NVIC_EnableIRQ(DMA2_Stream0_IRQn);

}

static void MX_GPIO_Init(void)
{
  GPIO_InitTypeDef GPIO_InitStruct = {0};

  /* GPIO Ports Clock Enable */
  __HAL_RCC_GPIOC_CLK_ENABLE();
  __HAL_RCC_GPIOH_CLK_ENABLE();
  __HAL_RCC_GPIOA_CLK_ENABLE();
  __HAL_RCC_GPIOB_CLK_ENABLE();

  /*Configure GPIO pin Output Level */
  HAL_GPIO_WritePin(GPIOA, GPIO_PIN_6|GPIO_PIN_10, GPIO_PIN_RESET);

  /*Configure GPIO pin Output Level */
  HAL_GPIO_WritePin(GPIOB, GPIO_PIN_10|GPIO_PIN_3|GPIO_PIN_4|GPIO_PIN_5, GPIO_PIN_RESET);

  /*Configure GPIO pin : B1_Pin */
  GPIO_InitStruct.Pin = B1_Pin;
  GPIO_InitStruct.Mode = GPIO_MODE_IT_FALLING;
  GPIO_InitStruct.Pull = GPIO_NOPULL;
  HAL_GPIO_Init(B1_GPIO_Port, &GPIO_InitStruct);

  /*Configure GPIO pins : PA6 PA10 */
  GPIO_InitStruct.Pin = GPIO_PIN_6|GPIO_PIN_10;
  GPIO_InitStruct.Mode = GPIO_MODE_OUTPUT_PP;
  GPIO_InitStruct.Pull = GPIO_NOPULL;
  GPIO_InitStruct.Speed = GPIO_SPEED_FREQ_LOW;
  HAL_GPIO_Init(GPIOA, &GPIO_InitStruct);

  /*Configure GPIO pins : PB10 PB3 PB4 PB5 */
  GPIO_InitStruct.Pin = GPIO_PIN_10|GPIO_PIN_3|GPIO_PIN_4|GPIO_PIN_5;
  GPIO_InitStruct.Mode = GPIO_MODE_OUTPUT_PP;
  GPIO_InitStruct.Pull = GPIO_NOPULL;
  GPIO_InitStruct.Speed = GPIO_SPEED_FREQ_LOW;
  HAL_GPIO_Init(GPIOB, &GPIO_InitStruct);

}

/* USER CODE BEGIN 4 */

void HAL_ADC_ConvCpltCallback(ADC_HandleTypeDef* AdcHandle)
{
	// ADC Conversion Completed
	HAL_TIM_Base_Stop(&htim3);
	adcTransfer = 1;
}

/* USER CODE END 4 */

void Error_Handler(void)
{
  __disable_irq();
  while (1)
  {
  }
}
